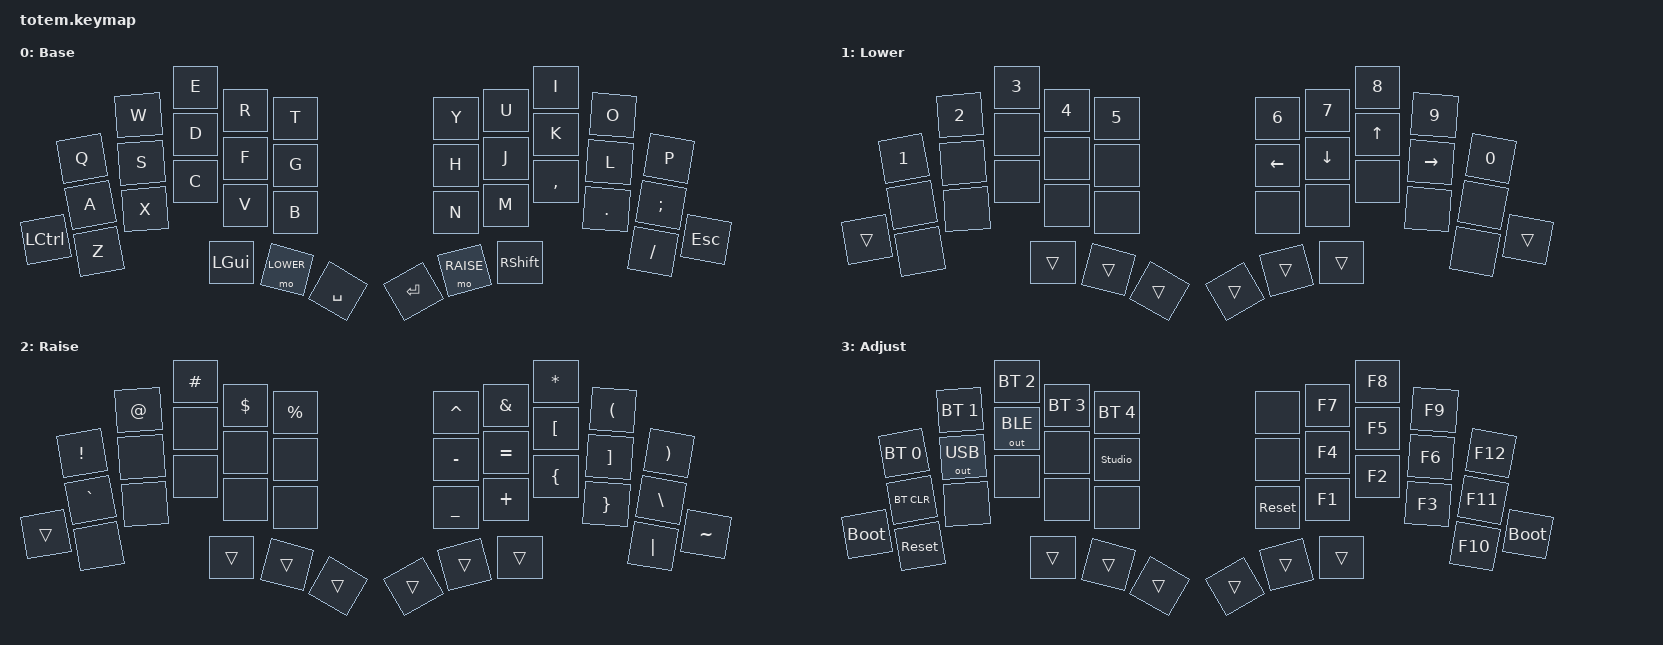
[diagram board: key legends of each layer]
// TOTEM keymap, ported from the crkbd default layout.
//
// Key positions (used by combos):
//
//        0  1  2  3  4      5  6  7  8  9
//       10 11 12 13 14     15 16 17 18 19
//    20 21 22 23 24 25     26 27 28 29 30 31
//             32 33 34     35 36 37

#include <behaviors.dtsi>
#include <dt-bindings/zmk/keys.h>
#include <dt-bindings/zmk/bt.h>
#include <dt-bindings/zmk/outputs.h>

#define BASE  0
#define LOWER 1
#define RAISE 2
#define ADJ   3

/ {
    combos {
        compatible = "zmk,combos";
        combo_tab {
            timeout-ms = <35>;
            require-prior-idle-ms = <150>;
            key-positions = <0 1>;      // Q + W
            bindings = <&kp TAB>;
            layers = <BASE>;
        };
        combo_bspc {
            timeout-ms = <35>;
            require-prior-idle-ms = <150>;
            key-positions = <8 9>;      // O + P
            bindings = <&kp BSPC>;
            layers = <BASE>;
        };
        combo_quot {
            timeout-ms = <35>;
            require-prior-idle-ms = <150>;
            key-positions = <18 19>;    // L + ;
            bindings = <&kp SQT>;
            layers = <BASE>;
        };
    };

    // Holding Lower and Raise together opens Adjust
    conditional_layers {
        compatible = "zmk,conditional-layers";
        tri_layer {
            if-layers = <LOWER RAISE>;
            then-layer = <ADJ>;
        };
    };

    keymap {
        compatible = "zmk,keymap";

        base_layer {
            display-name = "Base";
            bindings = <
                  &kp Q     &kp W     &kp E     &kp R     &kp T         &kp Y     &kp U     &kp I     &kp O     &kp P
                  &kp A     &kp S     &kp D     &kp F     &kp G         &kp H     &kp J     &kp K     &kp L     &kp SEMI
        &kp LCTRL &kp Z     &kp X     &kp C     &kp V     &kp B         &kp N     &kp M     &kp COMMA &kp DOT   &kp FSLH  &kp ESC
                                      &kp LGUI  &mo LOWER &kp SPACE     &kp RET   &mo RAISE &kp RSHFT
            >;
        };

        lower_layer {
            display-name = "Lower";
            bindings = <
                  &kp N1    &kp N2    &kp N3    &kp N4    &kp N5        &kp N6    &kp N7    &kp N8    &kp N9    &kp N0
                  &none     &none     &none     &none     &none         &kp LEFT  &kp DOWN  &kp UP    &kp RIGHT &none
        &trans    &none     &none     &none     &none     &none         &none     &none     &none     &none     &none     &trans
                                      &trans    &trans    &trans        &trans    &trans    &trans
            >;
        };

        raise_layer {
            display-name = "Raise";
            bindings = <
                  &kp EXCL  &kp AT    &kp HASH  &kp DLLR  &kp PRCNT     &kp CARET &kp AMPS  &kp STAR  &kp LPAR  &kp RPAR
                  &kp GRAVE &none     &none     &none     &none         &kp MINUS &kp EQUAL &kp LBKT  &kp RBKT  &kp BSLH
        &trans    &none     &none     &none     &none     &none         &kp UNDER &kp PLUS  &kp LBRC  &kp RBRC  &kp PIPE  &kp TILDE
                                      &trans    &trans    &trans        &trans    &trans    &trans
            >;
        };

        // &bootloader and &sys_reset only act on the half they are pressed on,
        // so each half gets its own pair.
        adjust_layer {
            display-name = "Adjust";
            bindings = <
                  &bt BT_SEL 0  &bt BT_SEL 1  &bt BT_SEL 2  &bt BT_SEL 3  &bt BT_SEL 4      &none       &kp F7  &kp F8  &kp F9  &kp F12
                  &bt BT_CLR    &out OUT_USB  &out OUT_BLE  &none         &studio_unlock    &none       &kp F4  &kp F5  &kp F6  &kp F11
    &bootloader   &sys_reset    &none         &none         &none         &none             &sys_reset  &kp F1  &kp F2  &kp F3  &kp F10  &bootloader
                                              &trans        &trans        &trans            &trans      &trans  &trans
            >;
        };

        // Empty layers that can be filled from ZMK Studio
        extra1 {
            status = "reserved";
        };

        extra2 {
            status = "reserved";
        };
    };
};
